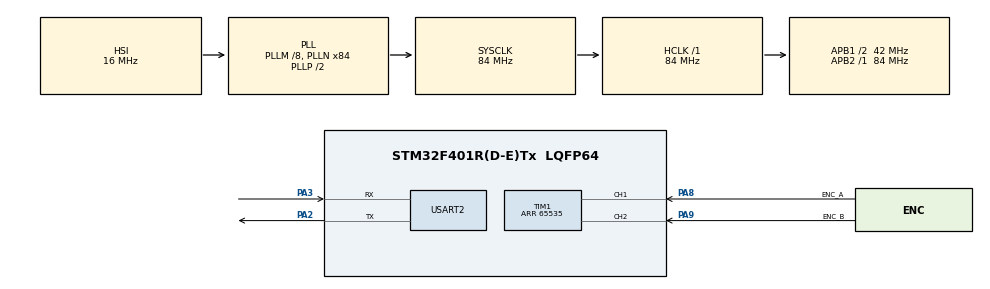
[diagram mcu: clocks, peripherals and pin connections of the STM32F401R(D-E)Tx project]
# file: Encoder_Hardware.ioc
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Mcu.Family=STM32F4
Mcu.Name=STM32F401R(D-E)Tx
Mcu.Package=LQFP64
NVIC.PriorityGroup=NVIC_PRIORITYGROUP_4
PA2.Mode=Asynchronous
PA2.Signal=USART2_TX
PA3.Mode=Asynchronous
PA3.Signal=USART2_RX
PA8.GPIO_Label=ENC_A
PA8.Signal=S_TIM1_CH1
PA9.GPIO_Label=ENC_B
PA9.Signal=S_TIM1_CH2
ProjectManager.HeapSize=0x200
ProjectManager.StackSize=0x400
ProjectManager.TargetToolchain=STM32CubeIDE
RCC.48MHZClocksFreq_Value=42000000
RCC.AHBFreq_Value=84000000
RCC.APB1CLKDivider=RCC_HCLK_DIV2
RCC.APB1Freq_Value=42000000
RCC.APB1TimFreq_Value=84000000
RCC.APB2Freq_Value=84000000
RCC.APB2TimFreq_Value=84000000
RCC.CortexFreq_Value=84000000
RCC.HCLKFreq_Value=84000000
RCC.HSE_VALUE=25000000
RCC.HSI_VALUE=16000000
RCC.LSE_VALUE=32768
RCC.PLLM=8
RCC.PLLN=84
RCC.SYSCLKFreq_VALUE=84000000
RCC.SYSCLKSource=RCC_SYSCLKSOURCE_PLLCLK
RCC.VCOOutputFreq_Value=168000000
SH.S_TIM1_CH1.0=TIM1_CH1,Encoder_Interface
SH.S_TIM1_CH2.0=TIM1_CH2,Encoder_Interface
TIM1.AutoReloadPreload=TIM_AUTORELOAD_PRELOAD_DISABLE
TIM1.EncoderMode=TIM_ENCODERMODE_TI12
TIM1.IC1Filter=15
TIM1.IC2Filter=15
TIM1.Period=65535
USART2.VirtualMode=VM_ASYNC
board=custom

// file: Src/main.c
/* USER CODE BEGIN Header */
/**
  ******************************************************************************
  * @file           : main.c
  * @brief          : Main program body
  ******************************************************************************
  * @attention
  *
  * <h2><center>&copy; Copyright (c) 2019 STMicroelectronics.
  * All rights reserved.</center></h2>
  *
  * This software component is licensed by ST under BSD 3-Clause license,
  * the "License"; You may not use this file except in compliance with the
  * License. You may obtain a copy of the License at:
  *                        opensource.org/licenses/BSD-3-Clause
  *
  ******************************************************************************
  *
  *  Created on: 16.08.2019
  *      Author: Mateusz Salamon
  *		 mateusz@msalamon.pl
  *
  *      Website: https://msalamon.pl/dziecinnie-prosta-sprzetowa-obsluga-enkodera-na-stm32/
  *      GitHub:  https://github.com/lamik/Encoder_HW_STM32_HAL
  */
/* USER CODE END Header */

#include "main.h"

/* USER CODE BEGIN Includes */
#include "stdio.h"
/* USER CODE END Includes */

TIM_HandleTypeDef htim1;

UART_HandleTypeDef huart2;

/* USER CODE BEGIN PV */
uint8_t Message[32];
uint8_t MessageLength;
int8_t AudioVolume;
/* USER CODE END PV */

void SystemClock_Config(void);
static void MX_GPIO_Init(void);
static void MX_TIM1_Init(void);
static void MX_USART2_UART_Init(void);
/* USER CODE BEGIN PFP */
void UpdateAudioVolume(void);
/* USER CODE END PFP */

int main(void)
{

  /* MCU Configuration--------------------------------------------------------*/

  /* Reset of all peripherals, Initializes the Flash interface and the Systick. */
  HAL_Init();

  /* Configure the system clock */
  SystemClock_Config();

  /* Initialize all configured peripherals */
  MX_GPIO_Init();
  MX_TIM1_Init();
  MX_USART2_UART_Init();
  /* USER CODE BEGIN 2 */
  HAL_TIM_Encoder_Start(&htim1, TIM_CHANNEL_ALL);
  /* USER CODE END 2 */

  /* Infinite loop */
  /* USER CODE BEGIN WHILE */
  while (1)
  {
	  MessageLength = sprintf((char*)Message, "Counter: %d\n\r", (int)htim1.Instance->CNT);
	  HAL_UART_Transmit(&huart2, Message, MessageLength, 100);

	  UpdateAudioVolume();

	  MessageLength = sprintf((char*)Message, "Volume: %d\n\r", AudioVolume);
	  HAL_UART_Transmit(&huart2, Message, MessageLength, 100);

	  HAL_Delay(200);
    /* USER CODE END WHILE */

  }
}

void SystemClock_Config(void)
{
  RCC_OscInitTypeDef RCC_OscInitStruct = {0};
  RCC_ClkInitTypeDef RCC_ClkInitStruct = {0};

  /** Configure the main internal regulator output voltage
  */
  __HAL_RCC_PWR_CLK_ENABLE();
  __HAL_PWR_VOLTAGESCALING_CONFIG(PWR_REGULATOR_VOLTAGE_SCALE2);
  /** Initializes the CPU, AHB and APB busses clocks
  */
  RCC_OscInitStruct.OscillatorType = RCC_OSCILLATORTYPE_HSI;
  RCC_OscInitStruct.HSIState = RCC_HSI_ON;
  RCC_OscInitStruct.HSICalibrationValue = RCC_HSICALIBRATION_DEFAULT;
  RCC_OscInitStruct.PLL.PLLState = RCC_PLL_ON;
  RCC_OscInitStruct.PLL.PLLSource = RCC_PLLSOURCE_HSI;
  RCC_OscInitStruct.PLL.PLLM = 8;
  RCC_OscInitStruct.PLL.PLLN = 84;
  RCC_OscInitStruct.PLL.PLLP = RCC_PLLP_DIV2;
  RCC_OscInitStruct.PLL.PLLQ = 4;
  if (HAL_RCC_OscConfig(&RCC_OscInitStruct) != HAL_OK)
  {
    Error_Handler();
  }
  /** Initializes the CPU, AHB and APB busses clocks
  */
  RCC_ClkInitStruct.ClockType = RCC_CLOCKTYPE_HCLK|RCC_CLOCKTYPE_SYSCLK
                              |RCC_CLOCKTYPE_PCLK1|RCC_CLOCKTYPE_PCLK2;
  RCC_ClkInitStruct.SYSCLKSource = RCC_SYSCLKSOURCE_PLLCLK;
  RCC_ClkInitStruct.AHBCLKDivider = RCC_SYSCLK_DIV1;
  RCC_ClkInitStruct.APB1CLKDivider = RCC_HCLK_DIV2;
  RCC_ClkInitStruct.APB2CLKDivider = RCC_HCLK_DIV1;

  if (HAL_RCC_ClockConfig(&RCC_ClkInitStruct, FLASH_LATENCY_2) != HAL_OK)
  {
    Error_Handler();
  }
}

static void MX_TIM1_Init(void)
{

  TIM_Encoder_InitTypeDef sConfig = {0};
  TIM_MasterConfigTypeDef sMasterConfig = {0};

  htim1.Instance = TIM1;
  htim1.Init.Prescaler = 0;
  htim1.Init.CounterMode = TIM_COUNTERMODE_UP;
  htim1.Init.Period = 65535;
  htim1.Init.ClockDivision = TIM_CLOCKDIVISION_DIV1;
  htim1.Init.RepetitionCounter = 0;
  htim1.Init.AutoReloadPreload = TIM_AUTORELOAD_PRELOAD_DISABLE;
  sConfig.EncoderMode = TIM_ENCODERMODE_TI12;
  sConfig.IC1Polarity = TIM_ICPOLARITY_RISING;
  sConfig.IC1Selection = TIM_ICSELECTION_DIRECTTI;
  sConfig.IC1Prescaler = TIM_ICPSC_DIV1;
  sConfig.IC1Filter = 15;
  sConfig.IC2Polarity = TIM_ICPOLARITY_RISING;
  sConfig.IC2Selection = TIM_ICSELECTION_DIRECTTI;
  sConfig.IC2Prescaler = TIM_ICPSC_DIV1;
  sConfig.IC2Filter = 15;
  if (HAL_TIM_Encoder_Init(&htim1, &sConfig) != HAL_OK)
  {
    Error_Handler();
  }
  sMasterConfig.MasterOutputTrigger = TIM_TRGO_RESET;
  sMasterConfig.MasterSlaveMode = TIM_MASTERSLAVEMODE_DISABLE;
  if (HAL_TIMEx_MasterConfigSynchronization(&htim1, &sMasterConfig) != HAL_OK)
  {
    Error_Handler();
  }

}

static void MX_USART2_UART_Init(void)
{

  huart2.Instance = USART2;
  huart2.Init.BaudRate = 115200;
  huart2.Init.WordLength = UART_WORDLENGTH_8B;
  huart2.Init.StopBits = UART_STOPBITS_1;
  huart2.Init.Parity = UART_PARITY_NONE;
  huart2.Init.Mode = UART_MODE_TX_RX;
  huart2.Init.HwFlowCtl = UART_HWCONTROL_NONE;
  huart2.Init.OverSampling = UART_OVERSAMPLING_16;
  if (HAL_UART_Init(&huart2) != HAL_OK)
  {
    Error_Handler();
  }

}

static void MX_GPIO_Init(void)
{

  /* GPIO Ports Clock Enable */
  __HAL_RCC_GPIOA_CLK_ENABLE();

}

/* USER CODE BEGIN 4 */
void UpdateAudioVolume(void)
{
	static uint16_t LastTimerCounter = 0;

	int TimerDif = htim1.Instance->CNT - LastTimerCounter;

	if(TimerDif >= 4 || TimerDif <= -4)
	{										// The worst case: go from 0 to 65532.
		TimerDif /= 4;						// 65532 / 4 = 16383.
		AudioVolume += (int8_t)TimerDif; 	// 16383 casted to int8_t is -1. Problem solved! Same in other way (int8_t)-16383 = 1.
		if(AudioVolume > 30) AudioVolume = 30; // Upper limit case
		if(AudioVolume < 0) AudioVolume = 0;	// Lower limit case
		LastTimerCounter = htim1.Instance->CNT;
	}
}
/* USER CODE END 4 */

void Error_Handler(void)
{
}

/************************ (C) COPYRIGHT STMicroelectronics *****END OF FILE****/
